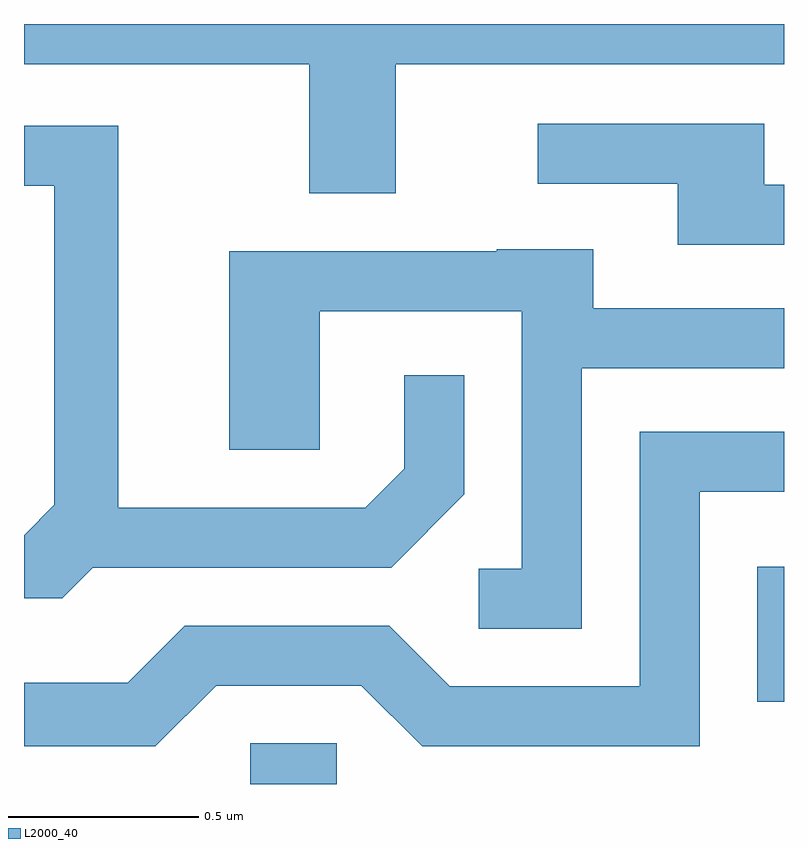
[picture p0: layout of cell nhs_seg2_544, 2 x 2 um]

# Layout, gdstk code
import gdstk
lib = gdstk.Library(unit=1e-6, precision=1e-09)
def R(c, l, rs):  # rectangles x0, y0, x1, y1
    for r in rs: c.add(gdstk.rectangle(r[:2], r[2:], *l))
def P(c, l, *ps):  # polygons
    for p in ps: c.add(gdstk.Polygon(p, *l))
L2000_40 = (2000, 40)

nhs_seg2_544 = lib.new_cell('nhs_seg2_544')
R(nhs_seg2_544, L2000_40, [(189.206,1110.802,189.434,1110.909), (190.541,1111.018,190.611,1111.374)])
P(nhs_seg2_544, L2000_40, [(189.589,1112.696),(190.611,1112.696),(190.611,1112.802),(188.611,1112.802),(188.611,1112.696),(189.361,1112.696),(189.361,1112.356),(189.589,1112.356)],
  [(190.611,1112.379),(190.559,1112.379),(190.559,1112.539),(189.963,1112.539),(189.963,1112.381),(190.331,1112.381),(190.331,1112.221),(190.611,1112.221)],
  [(188.792,1111.371),(189.577,1111.371),(189.769,1111.564),(189.769,1111.878),(189.611,1111.878),(189.611,1111.632),(189.509,1111.529),(188.859,1111.529),(188.859,1112.534),(188.611,1112.534),(188.611,1112.376),(188.691,1112.376),(188.691,1111.537),(188.611,1111.456),(188.611,1111.291),(188.712,1111.291)],
  [(190.079,1111.896),(190.611,1111.896),(190.611,1112.054),(190.109,1112.054),(190.109,1112.209),(189.855,1112.209),(189.855,1112.204),(189.151,1112.204),(189.151,1111.681),(189.389,1111.681),(189.389,1112.046),(189.921,1112.046),(189.921,1111.369),(189.808,1111.369),(189.808,1111.211),(190.079,1111.211)],
  [(189.117,1111.061),(189.499,1111.061),(189.659,1110.901),(190.389,1110.901),(190.389,1111.571),(190.611,1111.571),(190.611,1111.729),(190.231,1111.729),(190.231,1111.059),(189.732,1111.059),(189.572,1111.219),(189.034,1111.219),(188.884,1111.069),(188.611,1111.069),(188.611,1110.901),(188.957,1110.901)])

lib.write_gds('nhs_seg2_544.gds')
